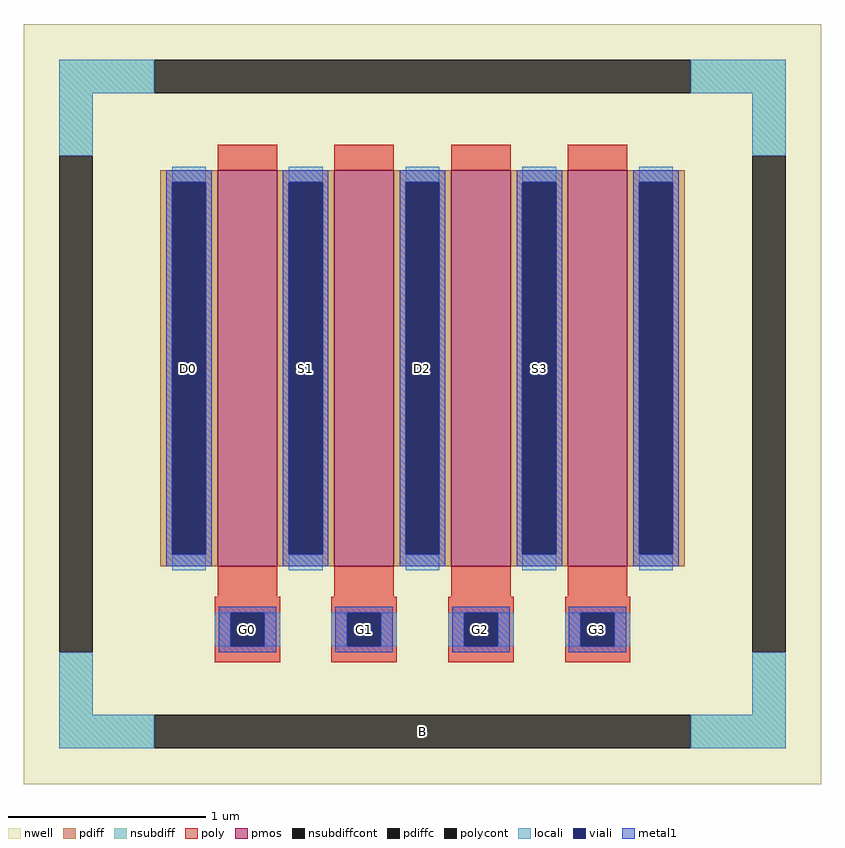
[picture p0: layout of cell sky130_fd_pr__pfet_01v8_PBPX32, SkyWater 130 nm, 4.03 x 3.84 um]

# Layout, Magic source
magic
tech sky130A
magscale 1 2
<< nwell >>
rect -403 -384 403 384
<< pmos >>
rect -207 -164 -147 236
rect -89 -164 -29 236
rect 29 -164 89 236
rect 147 -164 207 236
<< pdiff >>
rect -265 224 -207 236
rect -265 -152 -253 224
rect -219 -152 -207 224
rect -265 -164 -207 -152
rect -147 224 -89 236
rect -147 -152 -135 224
rect -101 -152 -89 224
rect -147 -164 -89 -152
rect -29 224 29 236
rect -29 -152 -17 224
rect 17 -152 29 224
rect -29 -164 29 -152
rect 89 224 147 236
rect 89 -152 101 224
rect 135 -152 147 224
rect 89 -164 147 -152
rect 207 224 265 236
rect 207 -152 219 224
rect 253 -152 265 224
rect 207 -164 265 -152
<< pdiffc >>
rect -253 -152 -219 224
rect -135 -152 -101 224
rect -17 -152 17 224
rect 101 -152 135 224
rect 219 -152 253 224
<< nsubdiff >>
rect -367 314 -271 348
rect 271 314 367 348
rect -367 251 -333 314
rect 333 251 367 314
rect -367 -314 -333 -251
rect 333 -314 367 -251
rect -367 -348 -271 -314
rect 271 -348 367 -314
<< nsubdiffcont >>
rect -271 314 271 348
rect -367 -251 -333 251
rect 333 -251 367 251
rect -271 -348 271 -314
<< poly >>
rect -207 236 -147 262
rect -89 236 -29 262
rect 29 236 89 262
rect 147 236 207 262
rect -207 -195 -147 -164
rect -89 -195 -29 -164
rect 29 -195 89 -164
rect 147 -195 207 -164
rect -210 -211 -144 -195
rect -210 -245 -194 -211
rect -160 -245 -144 -211
rect -210 -261 -144 -245
rect -92 -211 -26 -195
rect -92 -245 -76 -211
rect -42 -245 -26 -211
rect -92 -261 -26 -245
rect 26 -211 92 -195
rect 26 -245 42 -211
rect 76 -245 92 -211
rect 26 -261 92 -245
rect 144 -211 210 -195
rect 144 -245 160 -211
rect 194 -245 210 -211
rect 144 -261 210 -245
<< polycont >>
rect -194 -245 -160 -211
rect -76 -245 -42 -211
rect 42 -245 76 -211
rect 160 -245 194 -211
<< locali >>
rect -367 314 -271 348
rect 271 314 367 348
rect -367 251 -333 314
rect 333 251 367 314
rect -253 224 -219 240
rect -253 -168 -219 -152
rect -135 224 -101 240
rect -135 -168 -101 -152
rect -17 224 17 240
rect -17 -168 17 -152
rect 101 224 135 240
rect 101 -168 135 -152
rect 219 224 253 240
rect 219 -168 253 -152
rect -210 -245 -194 -211
rect -160 -245 -144 -211
rect -92 -245 -76 -211
rect -42 -245 -26 -211
rect 26 -245 42 -211
rect 76 -245 92 -211
rect 144 -245 160 -211
rect 194 -245 210 -211
rect -367 -314 -333 -251
rect 333 -314 367 -251
rect -367 -348 -271 -314
rect 271 -348 367 -314
<< viali >>
rect -253 -152 -219 224
rect -135 -152 -101 224
rect -17 -152 17 224
rect 101 -152 135 224
rect 219 -152 253 224
rect -194 -245 -160 -211
rect -76 -245 -42 -211
rect 42 -245 76 -211
rect 160 -245 194 -211
<< metal1 >>
rect -259 224 -213 236
rect -259 -152 -253 224
rect -219 -152 -213 224
rect -259 -164 -213 -152
rect -141 224 -95 236
rect -141 -152 -135 224
rect -101 -152 -95 224
rect -141 -164 -95 -152
rect -23 224 23 236
rect -23 -152 -17 224
rect 17 -152 23 224
rect -23 -164 23 -152
rect 95 224 141 236
rect 95 -152 101 224
rect 135 -152 141 224
rect 95 -164 141 -152
rect 213 224 259 236
rect 213 -152 219 224
rect 253 -152 259 224
rect 213 -164 259 -152
rect -206 -211 -148 -205
rect -206 -245 -194 -211
rect -160 -245 -148 -211
rect -206 -251 -148 -245
rect -88 -211 -30 -205
rect -88 -245 -76 -211
rect -42 -245 -30 -211
rect -88 -251 -30 -245
rect 30 -211 88 -205
rect 30 -245 42 -211
rect 76 -245 88 -211
rect 30 -251 88 -245
rect 148 -211 206 -205
rect 148 -245 160 -211
rect 194 -245 206 -211
rect 148 -251 206 -245
<< labels >>
rlabel nsubdiffcont 0 -331 0 -331 0 B
port 1 nsew
rlabel pdiffc -236 36 -236 36 0 D0
port 2 nsew
rlabel polycont -177 -228 -177 -228 0 G0
port 3 nsew
rlabel pdiffc -118 36 -118 36 0 S1
port 4 nsew
rlabel polycont -59 -228 -59 -228 0 G1
port 5 nsew
rlabel pdiffc 0 36 0 36 0 D2
port 6 nsew
rlabel polycont 59 -228 59 -228 0 G2
port 7 nsew
rlabel pdiffc 118 36 118 36 0 S3
port 8 nsew
rlabel polycont 177 -228 177 -228 0 G3
port 9 nsew
<< properties >>
string FIXED_BBOX -350 -331 350 331
string gencell sky130_fd_pr__pfet_01v8
string library sky130
string parameters w 2 l 0.3 m 1 nf 4 diffcov 100 polycov 100 guard 1 glc 1 grc 1 gtc 1 gbc 1 tbcov 100 rlcov 100 topc 0 botc 1 poverlap 0 doverlap 1 lmin 0.15 wmin 0.42 class mosfet compatible {sky130_fd_pr__pfet_01v8  sky130_fd_pr__pfet_01v8_lvt sky130_fd_pr__pfet_01v8_hvt  sky130_fd_pr__pfet_g5v0d10v5} full_metal 1 conn_gates 0 viasrc 100 viadrn 100 viagate 100 viagb 0 viagr 0 viagl 0 viagt 0 doports 1
<< end >>
